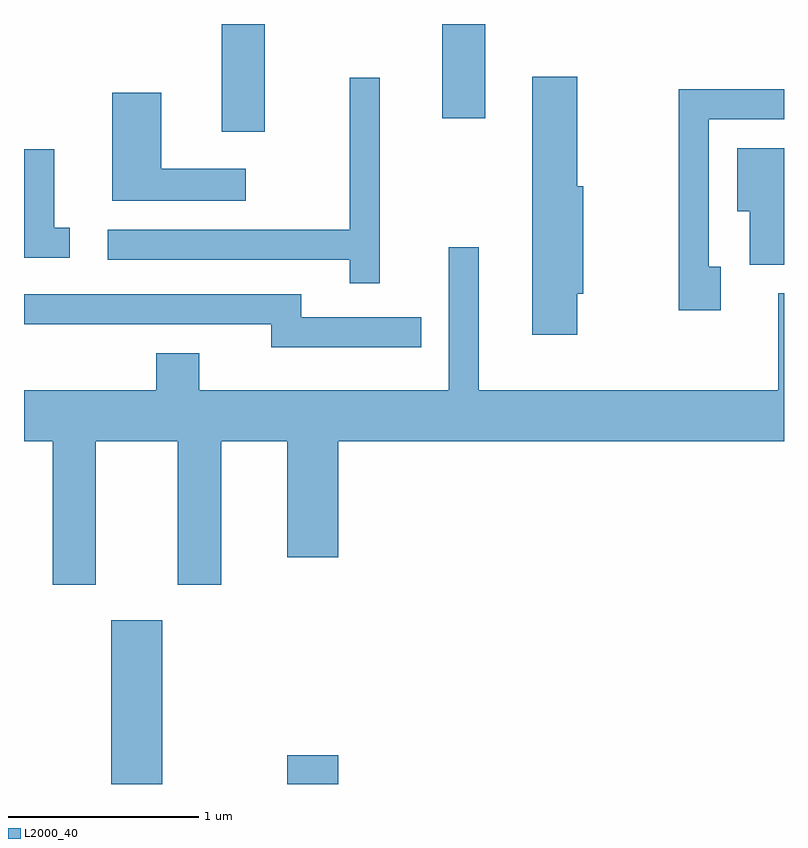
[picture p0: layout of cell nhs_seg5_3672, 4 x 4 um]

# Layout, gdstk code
import gdstk
lib = gdstk.Library(unit=1e-6, precision=1e-09)
def R(c, l, rs):  # rectangles x0, y0, x1, y1
    for r in rs: c.add(gdstk.rectangle(r[:2], r[2:], *l))
def P(c, l, *ps):  # polygons
    for p in ps: c.add(gdstk.Polygon(p, *l))
L2000_40 = (2000, 40)

nhs_seg5_3672 = lib.new_cell('nhs_seg5_3672')
R(nhs_seg5_3672, L2000_40, [(294.071,1486.072,294.339,1486.934), (294.996,1486.072,295.264,1486.224), (294.651,1489.506,294.879,1490.072), (295.811,1489.576,296.039,1490.072)])
P(nhs_seg5_3672, L2000_40, [(296.524,1488.651),(296.554,1488.651),(296.554,1489.219),(296.524,1489.219),(296.524,1489.794),(296.286,1489.794),(296.286,1488.436),(296.524,1488.436)],
  [(295.484,1489.788),(295.326,1489.788),(295.326,1488.989),(294.053,1488.989),(294.053,1488.831),(295.326,1488.831),(295.326,1488.708),(295.484,1488.708)],
  [(297.279,1488.794),(297.214,1488.794),(297.214,1489.571),(297.611,1489.571),(297.611,1489.729),(297.056,1489.729),(297.056,1488.566),(297.279,1488.566)],
  [(294.778,1489.309),(294.334,1489.309),(294.334,1489.709),(294.076,1489.709),(294.076,1489.141),(294.778,1489.141)],
  [(297.611,1489.419),(297.366,1489.419),(297.366,1489.086),(297.431,1489.086),(297.431,1488.806),(297.611,1488.806)],
  [(293.853,1488.999),(293.769,1488.999),(293.769,1489.414),(293.611,1489.414),(293.611,1488.841),(293.853,1488.841)],
  [(294.649,1487.876),(294.996,1487.876),(294.996,1487.266),(295.264,1487.266),(295.264,1487.876),(297.611,1487.876),(297.611,1488.654),(297.581,1488.654),(297.581,1488.144),(296.004,1488.144),(296.004,1488.898),(295.846,1488.898),(295.846,1488.144),(294.534,1488.144),(294.534,1488.339),(294.306,1488.339),(294.306,1488.144),(293.611,1488.144),(293.611,1487.876),(293.761,1487.876),(293.761,1487.121),(293.989,1487.121),(293.989,1487.876),(294.421,1487.876),(294.421,1487.121),(294.649,1487.121)],
  [(295.703,1488.529),(295.069,1488.529),(295.069,1488.649),(293.611,1488.649),(293.611,1488.491),(294.911,1488.491),(294.911,1488.371),(295.703,1488.371)])

lib.write_gds('nhs_seg5_3672.gds')
